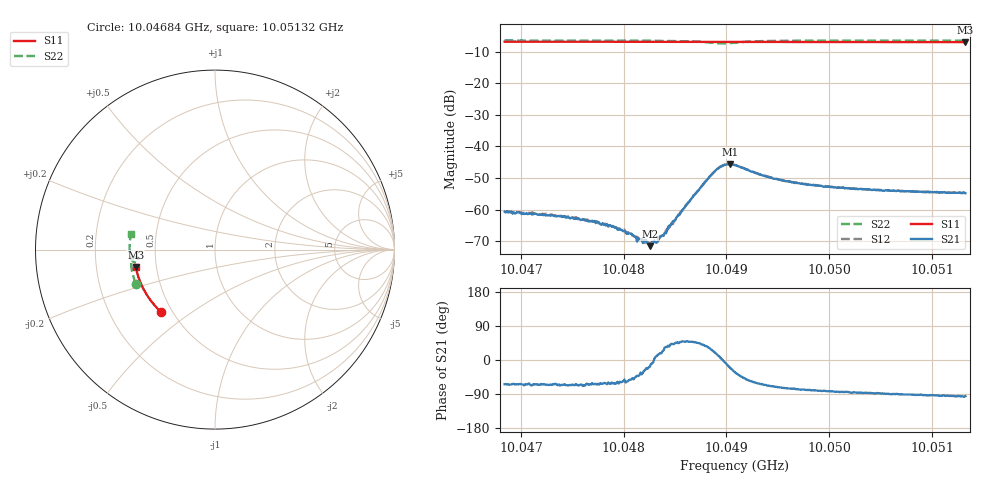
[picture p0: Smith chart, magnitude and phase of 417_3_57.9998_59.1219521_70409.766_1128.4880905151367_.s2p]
#  HZ  S  RI  R  50.00
! Rohde & Schwarz Vector Network Analyzer
! Rohde-Schwarz,ZNB20-2Port,1311601062101988,3.16
! Created: UTC 3/21/2024, 1:09:00 AM
! freq[Hz]  re:S11  im:S11  re:S21  im:S21  re:S12  im:S12  re:S22  im:S22
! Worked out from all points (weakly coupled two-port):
!   401 points, 10.04684 GHz to 10.05132 GHz, reference 50 ohm
!   highest |S21| = -45.62 dB at 10.04904 GHz (marker M1); lowest = -71.6 dB at 10.04825 GHz (marker M2)
!   lowest |S11| = -6.9 dB at 10.05132 GHz (marker M3), VSWR 2.65, Z = 19.1 - j4.66 ohm
!   |S11| at or under -10 dB: nowhere
!   |S22| runs from -7.3 to -6.4 dB; largest |S21 - S12| = 0.00036
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1.0046841e10  -0.2991 -0.3494  0.000407 -0.00083  0.000488 -0.000769  -0.4411 -0.1895
1.0047256e10  -0.3188 -0.3302  0.000343 -0.000743  0.000389 -0.000716  -0.4506 -0.1633
1.0047592e10  -0.3338 -0.3139  0.00029 -0.000626  0.000329 -0.000644  -0.4574 -0.141
1.0047883e10  -0.3462 -0.2992  0.000269 -0.00046  0.000287 -0.000473  -0.4621 -0.1209
1.0047984e10  -0.3504 -0.294  0.000251 -0.000398  0.0003 -0.000375  -0.4635 -0.1137
1.0048074e10  -0.3541 -0.2893  0.00026 -0.000326  0.000284 -0.000293  -0.4646 -0.1071
1.004813e10  -0.3564 -0.2864  0.000231 -0.000205  0.00029 -0.000229  -0.4652 -0.1029
1.0048197e10  -0.359 -0.283  0.000271 -0.000147  0.000298 -0.000138  -0.4658 -0.0978
1.0048253e10  -0.3613 -0.2801  0.00025 -7.91e-05  0.000291 -2.58e-05  -0.4662 -0.0934
1.0048309e10  -0.3634 -0.277  0.000296 4.21e-05  0.000319 5.86e-05  -0.4664 -0.0889
1.0048343e10  -0.3646 -0.2751  0.000356 9.96e-05  0.000325 0.000103  -0.4666 -0.0859
1.0048399e10  -0.3668 -0.2722  0.000358 0.000233  0.00035 0.000218  -0.4668 -0.0814
1.0048455e10  -0.3687 -0.2691  0.000422 0.000363  0.000371 0.000346  -0.4665 -0.0763
1.0048668e10  -0.3766 -0.2574  0.00103 0.00116  0.000988 0.00121  -0.4611 -0.0559
1.004887e10  -0.3832 -0.246  0.0035 0.00154  0.00338 0.00176  -0.4387 -0.0423
1.0048959e10  -0.3861 -0.2412  0.00493 7.25e-05  0.00496 0.000385  -0.4269 -0.0528
1.0049038e10  -0.3885 -0.2368  0.00487 -0.00192  0.00497 -0.00159  -0.431 -0.0668
1.0049083e10  -0.3901 -0.2344  0.00427 -0.00271  0.00447 -0.00244  -0.438 -0.0707
1.0049441e10  -0.4014 -0.2137  0.00111 -0.00296  0.00132 -0.00291  -0.4698 -0.0454
1.0049834e10  -0.4124 -0.1902  0.000434 -0.0024  0.000584 -0.00239  -0.4757 -0.0134
1.0050585e10  -0.4296 -0.1441  7.07e-06 -0.00201  0.000128 -0.002  -0.4748 0.04
1.0051325e10  -0.4415 -0.0972  -0.000171 -0.00181  -0.000108 -0.00182  -0.4676 0.0893
